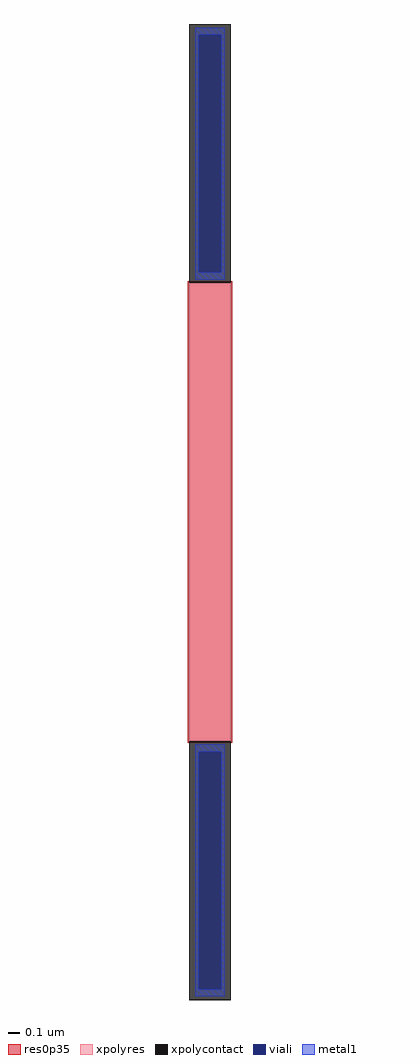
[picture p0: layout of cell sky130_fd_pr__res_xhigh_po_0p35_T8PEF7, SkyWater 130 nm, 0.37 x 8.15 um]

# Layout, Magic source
magic
tech sky130A
magscale 1 2
<< xpolycontact >>
rect -35 383 35 815
rect -35 -815 35 -383
<< xpolyres >>
rect -35 -383 35 383
<< viali >>
rect -19 400 19 797
rect -19 -797 19 -400
<< metal1 >>
rect -25 797 25 809
rect -25 400 -19 797
rect 19 400 25 797
rect -25 388 25 400
rect -25 -400 25 -388
rect -25 -797 -19 -400
rect 19 -797 25 -400
rect -25 -809 25 -797
<< res0p35 >>
rect -37 -385 37 385
<< properties >>
string gencell sky130_fd_pr__res_xhigh_po_0p35
string parameters w 0.350 l 3.83 m 1 nx 1 wmin 0.350 lmin 0.50 rho 2000 val 22.571k dummy 0 dw 0.0 term 120 sterm 0.0 caplen 0 wmax 0.350 guard 0 glc 0 grc 0 gtc 0 gbc 0 compatible {sky130_fd_pr__res_xhigh_po_0p35  sky130_fd_pr__res_xhigh_po_0p69 sky130_fd_pr__res_xhigh_po_1p41  sky130_fd_pr__res_xhigh_po_2p85 sky130_fd_pr__res_xhigh_po_5p73} full_metal 0 vias 1 viagb 0 viagt 0 viagl 0 viagr 0
string library sky130
<< end >>
